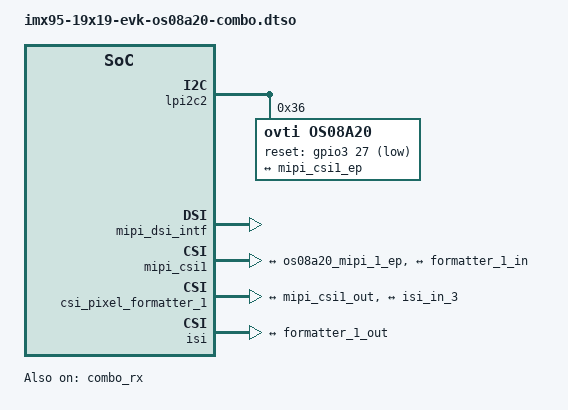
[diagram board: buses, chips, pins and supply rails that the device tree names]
// SPDX-License-Identifier: (GPL-2.0+ OR MIT)
/*
 * Copyright 2023 NXP
 */

/dts-v1/;
/plugin/;

#include <dt-bindings/gpio/gpio.h>

&lpi2c2 {
	#address-cells = <1>;
	#size-cells = <0>;
	status = "okay";

	os08a20: os08a20_mipi@36 {
		compatible = "ovti,os08a20";
		reg = <0x36>;
		reset-gpios = <&gpio3 27 GPIO_ACTIVE_LOW>;
		orientation = <2>;
		rotation = <0>;
		status = "okay";

		port {
			os08a20_mipi_1_ep: endpoint {
				remote-endpoint = <&mipi_csi1_ep>;
				data-lanes = <1 2 3 4>;
				clock-lanes = <0>;
			};
		};
	};
};

&display_stream_csr {
	status = "disabled";
};

&display_master_csr {
	status = "disabled";
};

&mipi_tx_phy_csr {
	status = "disabled";
};

&mipi_dsi_intf {
	status = "okay";
};

&combo_rx {
	status = "okay";
};

&mipi_csi1 {
	status = "okay";

	ports {
		#address-cells = <1>;
		#size-cells = <0>;

		port@0 {
			reg = <0>;
			mipi_csi1_ep: endpoint {
				remote-endpoint = <&os08a20_mipi_1_ep>;
				data-lanes = <1 2 3 4>;
				clock-lanes = <0>;
			};
		};

		port@1 {
			reg = <1>;
				mipi_csi1_out: endpoint {
				remote-endpoint = <&formatter_1_in>;
			};
		};
	};
};

&csi_pixel_formatter_1 {
	status = "okay";

	ports {
		#address-cells = <1>;
		#size-cells = <0>;

		port@0 {
			reg = <0>;

			formatter_1_in: endpoint {
				remote-endpoint = <&mipi_csi1_out>;
			};
		};

		port@1 {
			reg = <1>;

			formatter_1_out: endpoint {
				remote-endpoint = <&isi_in_3>;
			};
		};
	};
};

&isi {
	status = "okay";

	ports {
		#address-cells = <1>;
		#size-cells = <0>;

		port@3 {
			reg = <3>;

			isi_in_3: endpoint {
				remote-endpoint = <&formatter_1_out>;
			};
		};
	};
};
